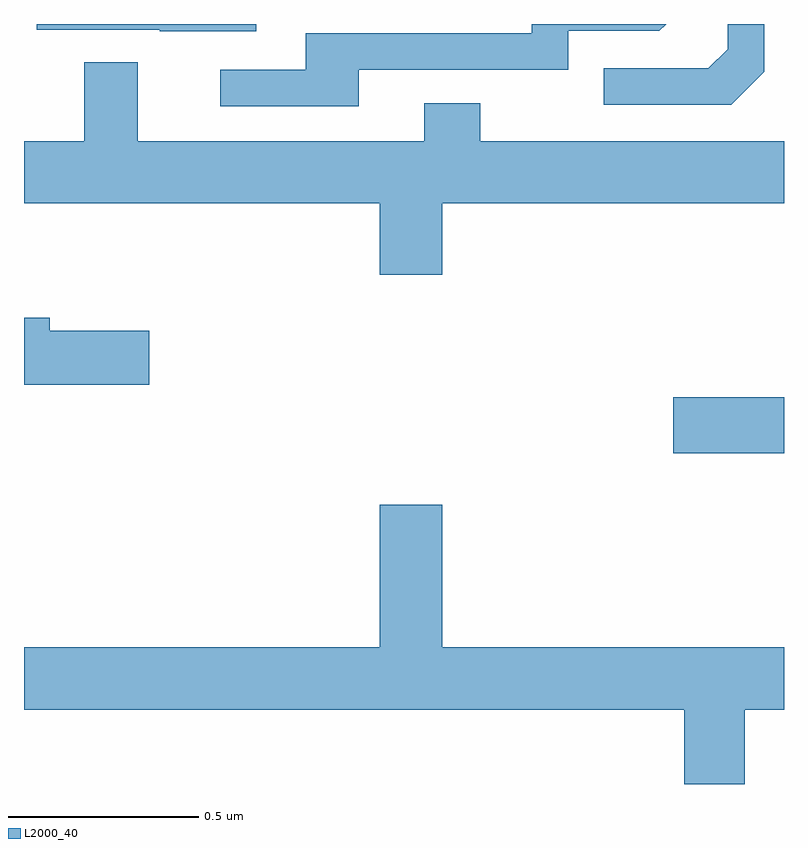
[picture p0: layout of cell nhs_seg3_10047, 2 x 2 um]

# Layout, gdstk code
import gdstk
lib = gdstk.Library(unit=1e-6, precision=1e-09)
def R(c, l, rs):  # rectangles x0, y0, x1, y1
    for r in rs: c.add(gdstk.rectangle(r[:2], r[2:], *l))
def P(c, l, *ps):  # polygons
    for p in ps: c.add(gdstk.Polygon(p, *l))
L2000_40 = (2000, 40)

nhs_seg3_10047 = lib.new_cell('nhs_seg3_10047')
R(nhs_seg3_10047, L2000_40, [(237.708,688.271,238,688.418)])
P(nhs_seg3_10047, L2000_40, [(237.948,689.274),(237.948,689.4),(237.852,689.4),(237.852,689.334),(237.801,689.283),(237.525,689.283),(237.525,689.187),(237.861,689.187)],
  [(236.611,689.4),(236.033,689.4),(236.033,689.385),(236.357,689.385),(236.357,689.381),(236.611,689.381)],
  [(236.881,689.28),(237.432,689.28),(237.432,689.382),(237.672,689.382),(237.69,689.4),(237.336,689.4),(237.336,689.376),(236.741,689.376),(236.741,689.28),(236.517,689.28),(236.517,689.184),(236.881,689.184)],
  [(237.1,688.928),(238,688.928),(238,689.092),(237.201,689.092),(237.201,689.191),(237.053,689.191),(237.053,689.092),(236.299,689.092),(236.299,689.3),(236.159,689.3),(236.159,689.092),(236,689.092),(236,688.928),(236.936,688.928),(236.936,688.74),(237.1,688.74)],
  [(236.329,688.593),(236.068,688.593),(236.068,688.627),(236,688.627),(236,688.451),(236.329,688.451)],
  [(237.897,687.596),(238,687.596),(238,687.76),(237.1,687.76),(237.1,688.135),(236.936,688.135),(236.936,687.76),(236,687.76),(236,687.596),(237.737,687.596),(237.737,687.4),(237.897,687.4)])

lib.write_gds('nhs_seg3_10047.gds')
